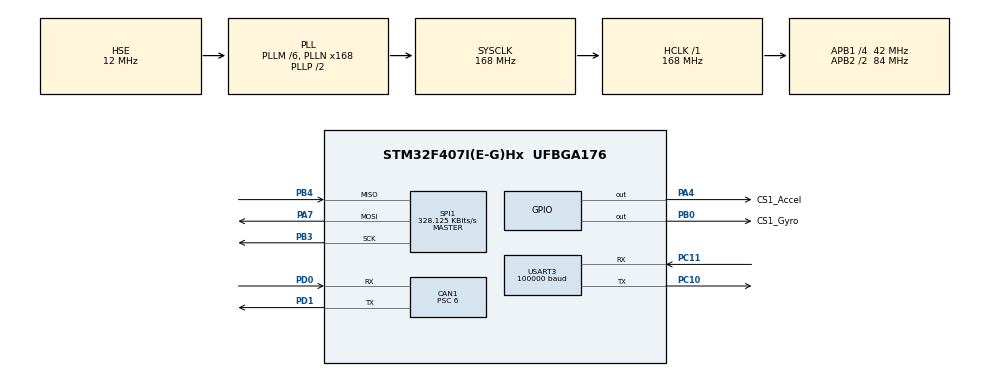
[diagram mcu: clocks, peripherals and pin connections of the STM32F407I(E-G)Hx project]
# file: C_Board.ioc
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CAN1.BS1=CAN_BS1_3TQ
CAN1.BS2=CAN_BS2_3TQ
CAN1.CalculateBaudRate=1000000
CAN1.CalculateTimeBit=1000
CAN1.CalculateTimeQuantum=142.85714285714286
CAN1.Prescaler=6
Dma.Request0=USART3_RX
Dma.USART3_RX.0.Direction=DMA_PERIPH_TO_MEMORY
Dma.USART3_RX.0.FIFOMode=DMA_FIFOMODE_DISABLE
Dma.USART3_RX.0.Instance=DMA1_Stream1
Dma.USART3_RX.0.MemDataAlignment=DMA_MDATAALIGN_BYTE
Dma.USART3_RX.0.MemInc=DMA_MINC_ENABLE
Dma.USART3_RX.0.Mode=DMA_NORMAL
Dma.USART3_RX.0.PeriphDataAlignment=DMA_PDATAALIGN_BYTE
Dma.USART3_RX.0.PeriphInc=DMA_PINC_DISABLE
Dma.USART3_RX.0.Priority=DMA_PRIORITY_LOW
FREERTOS.Tasks01=defaultTask,24,128,StartDefaultTask,Default,NULL,Dynamic,NULL,NULL
IWDG.Prescaler=IWDG_PRESCALER_32
IWDG.Reload=1500-1
Mcu.Family=STM32F4
Mcu.Name=STM32F407I(E-G)Hx
Mcu.Package=UFBGA176
NVIC.CAN1_RX0_IRQn=true\:5\:0\:true\:false\:true\:true\:true\:true\:true
NVIC.DMA1_Stream1_IRQn=true\:5\:0\:true\:false\:true\:true\:false\:true\:true
NVIC.PriorityGroup=NVIC_PRIORITYGROUP_4
NVIC.TIM6_DAC_IRQn=true\:5\:0\:true\:false\:true\:true\:true\:true\:true
NVIC.TIM7_IRQn=true\:15\:0\:false\:false\:true\:false\:false\:true\:true
NVIC.TimeBase=TIM7_IRQn
NVIC.TimeBaseIP=TIM7
NVIC.USART3_IRQn=true\:5\:0\:true\:false\:true\:true\:true\:true\:true
PA13.Mode=Serial_Wire
PA13.Signal=SYS_JTMS-SWDIO
PA14.Mode=Serial_Wire
PA14.Signal=SYS_JTCK-SWCLK
PA4.GPIO_Label=CS1_Accel
PA4.GPIO_PuPd=GPIO_PULLUP
PA4.GPIO_Speed=GPIO_SPEED_FREQ_HIGH
PA4.PinState=GPIO_PIN_SET
PA4.Signal=GPIO_Output
PA7.Mode=Full_Duplex_Master
PA7.Signal=SPI1_MOSI
PB0.GPIO_Label=CS1_Gyro
PB0.GPIO_PuPd=GPIO_PULLUP
PB0.GPIO_Speed=GPIO_SPEED_FREQ_HIGH
PB0.PinState=GPIO_PIN_SET
PB0.Signal=GPIO_Output
PB3.Mode=Full_Duplex_Master
PB3.Signal=SPI1_SCK
PB4.Mode=Full_Duplex_Master
PB4.Signal=SPI1_MISO
PC10.Mode=Asynchronous
PC10.Signal=USART3_TX
PC11.Mode=Asynchronous
PC11.Signal=USART3_RX
PD0.Mode=CAN_Activate
PD0.Signal=CAN1_RX
PD1.Mode=CAN_Activate
PD1.Signal=CAN1_TX
PH0-OSC_IN.Mode=HSE-External-Oscillator
PH0-OSC_IN.Signal=RCC_OSC_IN
PH1-OSC_OUT.Mode=HSE-External-Oscillator
PH1-OSC_OUT.Signal=RCC_OSC_OUT
ProjectManager.HeapSize=0x2000
ProjectManager.StackSize=0x4000
ProjectManager.TargetToolchain=MDK-ARM V5.32
RCC.48MHZClocksFreq_Value=84000000
RCC.AHBFreq_Value=168000000
RCC.APB1CLKDivider=RCC_HCLK_DIV4
RCC.APB1Freq_Value=42000000
RCC.APB1TimFreq_Value=84000000
RCC.APB2CLKDivider=RCC_HCLK_DIV2
RCC.APB2Freq_Value=84000000
RCC.APB2TimFreq_Value=168000000
RCC.CortexFreq_Value=168000000
RCC.EnbaleCSS=true
RCC.HCLKFreq_Value=168000000
RCC.HSE_VALUE=12000000
RCC.HSI_VALUE=16000000
RCC.LSE_VALUE=32768
RCC.PLLM=6
RCC.PLLN=168
RCC.PLLSourceVirtual=RCC_PLLSOURCE_HSE
RCC.SYSCLKFreq_VALUE=168000000
RCC.SYSCLKSource=RCC_SYSCLKSOURCE_PLLCLK
RCC.VCOOutputFreq_Value=336000000
SPI1.BaudRatePrescaler=SPI_BAUDRATEPRESCALER_256
SPI1.CalculateBaudRate=328.125 KBits/s
SPI1.Direction=SPI_DIRECTION_2LINES
SPI1.Mode=SPI_MODE_MASTER
SPI1.VirtualType=VM_MASTER
STMicroelectronics.X-CUBE-ALGOBUILD.1.4.0.LibraryCcDSPOoLibraryJjDSPOoLibrary=true
TIM6.Period=1000-1
TIM6.Prescaler=84-1
USART3.BaudRate=100000
USART3.Mode=MODE_RX
USART3.Parity=PARITY_EVEN
USART3.VirtualMode=VM_ASYNC
USART3.WordLength=WORDLENGTH_9B
VP_FREERTOS_VS_CMSIS_V2.Mode=CMSIS_V2
VP_IWDG_VS_IWDG.Mode=IWDG_Activate
VP_STMicroelectronics.X-CUBE-ALGOBUILD_VS_DSPOoLibraryJjLibrary_1.4.0_1.4.0.Mode=DSPOoLibraryJjLibrary
VP_SYS_VS_tim7.Mode=TIM7
VP_TIM6_VS_ClockSourceINT.Mode=Enable_Timer
board=custom

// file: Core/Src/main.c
/* USER CODE BEGIN Header */
/**
  ******************************************************************************
  * @file           : main.c
  * @brief          : Main program body
  ******************************************************************************
  * @attention
  *
  * Copyright (c) 2025 STMicroelectronics.
  * All rights reserved.
  *
  * This software is licensed under terms that can be found in the LICENSE file
  * in the root directory of this software component.
  * If no LICENSE file comes with this software, it is provided AS-IS.
  *
  ******************************************************************************
  */
/* USER CODE END Header */
#include "main.h"
#include "cmsis_os.h"
#include "can.h"
#include "dma.h"
#include "iwdg.h"
#include "spi.h"
#include "tim.h"
#include "usart.h"
#include "gpio.h"

/* USER CODE BEGIN Includes */
#include "bmi088.h"
#include "Controller.hpp"
/* USER CODE END Includes */

/* USER CODE BEGIN PV */
extern uint8_t controller_rx_buffer[32];
CAN_FilterTypeDef filter1 = { .FilterIdHigh = 0x0000,
                              .FilterIdLow = 0x0000,
                              .FilterMaskIdHigh = 0x0000,
                              .FilterMaskIdLow = 0x0000,
                              .FilterFIFOAssignment = CAN_FilterFIFO0,
                              .FilterBank = 0,
                              .FilterMode = CAN_FILTERMODE_IDMASK,
                              .FilterScale = CAN_FILTERSCALE_32BIT,
                              .FilterActivation = ENABLE };
/* USER CODE END PV */

void SystemClock_Config(void);
void MX_FREERTOS_Init(void);

int main(void)
 {

  /* MCU Configuration--------------------------------------------------------*/

  /* Reset of all peripherals, Initializes the Flash interface and the Systick. */
  HAL_Init();

  /* Configure the system clock */
  SystemClock_Config();

  /* Initialize all configured peripherals */
  MX_GPIO_Init();
  MX_DMA_Init();
  MX_TIM6_Init();
  MX_USART3_UART_Init();
  MX_CAN1_Init();
  MX_SPI1_Init();
  MX_IWDG_Init();
  /* USER CODE BEGIN 2 */
  bmi088_init();
  HAL_TIM_Base_Start_IT(&htim6);
  HAL_UARTEx_ReceiveToIdle_DMA(&huart3, controller_rx_buffer, 32);

    HAL_CAN_ConfigFilter(&hcan1, &filter1);
    HAL_CAN_Start(&hcan1);
    HAL_CAN_ActivateNotification(&hcan1, CAN_IT_RX_FIFO0_MSG_PENDING);
  /* USER CODE END 2 */

  /* Init scheduler */
  osKernelInitialize();  /* Call init function for freertos objects (in cmsis_os2.c) */
  MX_FREERTOS_Init();

  /* Start scheduler */
  osKernelStart();

  /* We should never get here as control is now taken by the scheduler */

  /* Infinite loop */
  while (1)
  {

  }
}

void SystemClock_Config(void)
{
  RCC_OscInitTypeDef RCC_OscInitStruct = {0};
  RCC_ClkInitTypeDef RCC_ClkInitStruct = {0};

  /** Configure the main internal regulator output voltage
  */
  __HAL_RCC_PWR_CLK_ENABLE();
  __HAL_PWR_VOLTAGESCALING_CONFIG(PWR_REGULATOR_VOLTAGE_SCALE1);

  /** Initializes the RCC Oscillators according to the specified parameters
  * in the RCC_OscInitTypeDef structure.
  */
  RCC_OscInitStruct.OscillatorType = RCC_OSCILLATORTYPE_LSI|RCC_OSCILLATORTYPE_HSE;
  RCC_OscInitStruct.HSEState = RCC_HSE_ON;
  RCC_OscInitStruct.LSIState = RCC_LSI_ON;
  RCC_OscInitStruct.PLL.PLLState = RCC_PLL_ON;
  RCC_OscInitStruct.PLL.PLLSource = RCC_PLLSOURCE_HSE;
  RCC_OscInitStruct.PLL.PLLM = 6;
  RCC_OscInitStruct.PLL.PLLN = 168;
  RCC_OscInitStruct.PLL.PLLP = RCC_PLLP_DIV2;
  RCC_OscInitStruct.PLL.PLLQ = 4;
  if (HAL_RCC_OscConfig(&RCC_OscInitStruct) != HAL_OK)
  {
    Error_Handler();
  }

  /** Initializes the CPU, AHB and APB buses clocks
  */
  RCC_ClkInitStruct.ClockType = RCC_CLOCKTYPE_HCLK|RCC_CLOCKTYPE_SYSCLK
                              |RCC_CLOCKTYPE_PCLK1|RCC_CLOCKTYPE_PCLK2;
  RCC_ClkInitStruct.SYSCLKSource = RCC_SYSCLKSOURCE_PLLCLK;
  RCC_ClkInitStruct.AHBCLKDivider = RCC_SYSCLK_DIV1;
  RCC_ClkInitStruct.APB1CLKDivider = RCC_HCLK_DIV4;
  RCC_ClkInitStruct.APB2CLKDivider = RCC_HCLK_DIV2;

  if (HAL_RCC_ClockConfig(&RCC_ClkInitStruct, FLASH_LATENCY_5) != HAL_OK)
  {
    Error_Handler();
  }

  /** Enables the Clock Security System
  */
  HAL_RCC_EnableCSS();
}

void HAL_TIM_PeriodElapsedCallback(TIM_HandleTypeDef *htim)
{
  if (htim->Instance == TIM7)
  {
    HAL_IncTick();
  }
}

void Error_Handler(void)
{
  __disable_irq();
  while (1)
  {
  }
}

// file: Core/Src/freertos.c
/* USER CODE BEGIN Header */
/**
  ******************************************************************************
  * File Name          : freertos.c
  * Description        : Code for freertos applications
  ******************************************************************************
  * @attention
  *
  * Copyright (c) 2025 STMicroelectronics.
  * All rights reserved.
  *
  * This software is licensed under terms that can be found in the LICENSE file
  * in the root directory of this software component.
  * If no LICENSE file comes with this software, it is provided AS-IS.
  *
  ******************************************************************************
  */
/* USER CODE END Header */

#include "FreeRTOS.h"
#include "task.h"
#include "main.h"
#include "cmsis_os.h"

/* USER CODE BEGIN Includes */
#include "task.hpp"
/* USER CODE END Includes */

/* Definitions for defaultTask */
osThreadId_t defaultTaskHandle;
const osThreadAttr_t defaultTask_attributes = {
  .name = "defaultTask",
  .stack_size = 128 * 4,
  .priority = (osPriority_t) osPriorityNormal,
};

void StartDefaultTask(void *argument);

void MX_FREERTOS_Init(void); /* (MISRA C 2004 rule 8.1) */

void MX_FREERTOS_Init(void) {

  /* Create the thread(s) */
  /* creation of defaultTask */
  // defaultTaskHandle = osThreadNew(StartDefaultTask, NULL, &defaultTask_attributes);

  /* USER CODE BEGIN RTOS_THREADS */
  /* add threads, ... */
    register_tasks();
  /* USER CODE END RTOS_THREADS */

}

void StartDefaultTask(void *argument)
{
  for(;;)
  {
    osDelay(1);
  }
}
